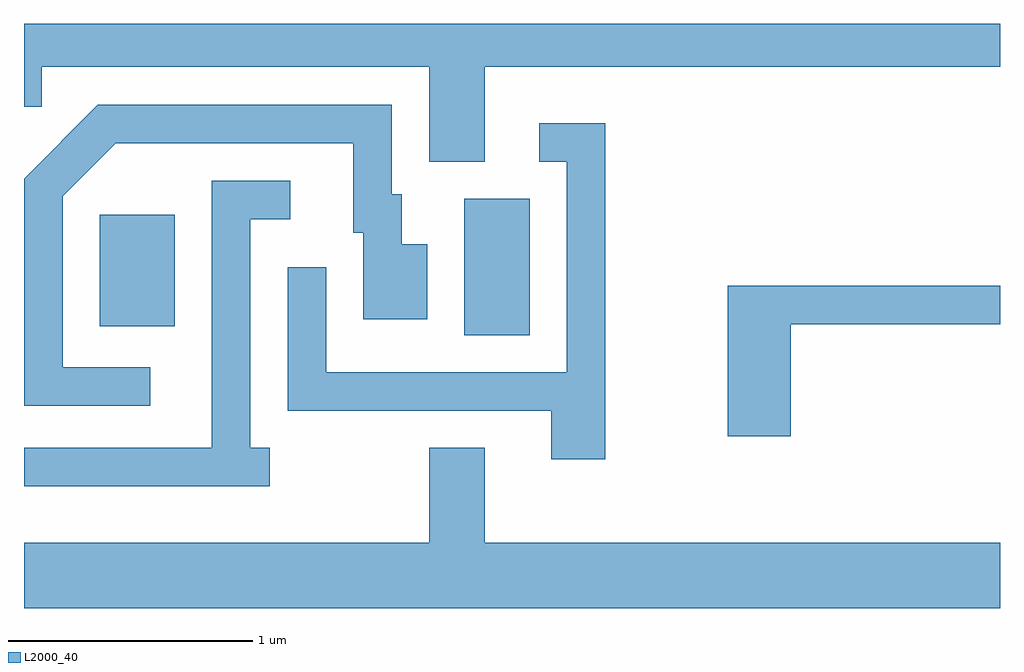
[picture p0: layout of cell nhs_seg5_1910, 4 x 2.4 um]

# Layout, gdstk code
import gdstk
lib = gdstk.Library(unit=1e-6, precision=1e-09)
def R(c, l, rs):  # rectangles x0, y0, x1, y1
    for r in rs: c.add(gdstk.rectangle(r[:2], r[2:], *l))
def P(c, l, *ps):  # polygons
    for p in ps: c.add(gdstk.Polygon(p, *l))
L2000_40 = (2000, 40)

nhs_seg5_1910 = lib.new_cell('nhs_seg5_1910')
R(nhs_seg5_1910, L2000_40, [(243.416,1466.796,243.684,1467.354), (241.921,1466.831,242.229,1467.289)])
P(nhs_seg5_1910, L2000_40, [(245.611,1468.072),(241.611,1468.072),(241.611,1467.731),(241.684,1467.731),(241.684,1467.896),(243.271,1467.896),(243.271,1467.506),(243.499,1467.506),(243.499,1467.896),(245.611,1467.896)],
  [(242.128,1466.664),(241.769,1466.664),(241.769,1467.364),(241.987,1467.581),(242.961,1467.581),(242.961,1467.216),(243.001,1467.216),(243.001,1466.861),(243.264,1466.861),(243.264,1467.169),(243.159,1467.169),(243.159,1467.374),(243.119,1467.374),(243.119,1467.739),(241.914,1467.739),(241.611,1467.437),(241.611,1466.506),(242.128,1466.506)],
  [(243.994,1467.664),(243.723,1467.664),(243.723,1467.506),(243.836,1467.506),(243.836,1466.644),(242.849,1466.644),(242.849,1467.073),(242.691,1467.073),(242.691,1466.486),(243.771,1466.486),(243.771,1466.286),(243.994,1466.286)],
  [(242.618,1466.334),(242.539,1466.334),(242.539,1467.271),(242.703,1467.271),(242.703,1467.429),(242.381,1467.429),(242.381,1466.334),(241.611,1466.334),(241.611,1466.176),(242.618,1466.176)],
  [(244.754,1466.841),(245.611,1466.841),(245.611,1466.999),(244.496,1466.999),(244.496,1466.381),(244.754,1466.381)],
  [(245.611,1465.944),(243.499,1465.944),(243.499,1466.334),(243.271,1466.334),(243.271,1465.944),(241.611,1465.944),(241.611,1465.676),(245.611,1465.676)])

lib.write_gds('nhs_seg5_1910.gds')
